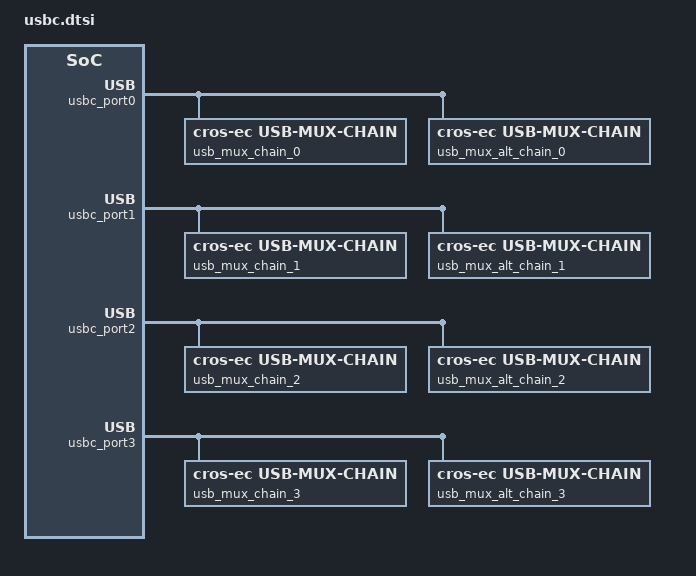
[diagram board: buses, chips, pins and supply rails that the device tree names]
/* Copyright 2024 The ChromiumOS Authors
 * Use of this source code is governed by a BSD-style license that can be
 * found in the LICENSE file.
 */

/ {
	usbc {
		#address-cells = <1>;
		#size-cells = <0>;

		usbc_port0: port0@0 {
			compatible = "named-usbc-port";
			reg = <0>;
			tcpc = <&tcpci_emul0>;
			ppc = <&ppc0_emul>;
			chg = <&charger_emul>;
			usb_mux_chain_0: usb-mux-chain-0 {
				compatible = "cros-ec,usb-mux-chain";
				usb-muxes = <&usb_c0_hb_retimer
					     &virtual_mux_c0>;
			};
			usb_mux_alt_chain_0: usb-mux-atl-chain-0 {
				compatible = "cros-ec,usb-mux-chain";
				alternative-chain;
				usb-muxes = <&virtual_mux_c0>;
			};
		};
		port0-muxes {
			virtual_mux_c0: virtual-mux-c0 {
				compatible = "cros-ec,usbc-mux-virtual";
			};
		};

		usbc_port1: port1@1 {
			compatible = "named-usbc-port";
			reg = <1>;
			tcpc = <&tcpci_emul1>;
			ppc = <&ppc1_emul>;
			usb_mux_chain_1: usb-mux-chain-1 {
				compatible = "cros-ec,usb-mux-chain";
				usb-muxes = <&usb_c1_hb_retimer
					     &virtual_mux_c1>;
			};

			/* TODO:
			 * LP5 doesn't have port 1; should remove PD_C1
			 * task.
			 */
			usb_mux_alt_chain_1: usb-mux-alt-chain-1 {
				compatible = "cros-ec,usb-mux-chain";
				alternative-chain;
				usb-muxes = <&virtual_mux_c1>;
			};
		};
		port1-muxes {
			virtual_mux_c1: virtual-mux-c1 {
				compatible = "cros-ec,usbc-mux-virtual";
			};
		};

		usbc_port2: port2@2 {
			compatible = "named-usbc-port";
			reg = <2>;
			tcpc = <&tcpci_emul2>;
			usb_mux_chain_2: usb-mux-chain-2 {
				compatible = "cros-ec,usb-mux-chain";
				usb-muxes = <&usb_c2_hb_retimer
					     &virtual_mux_c2>;
			};
			usb_mux_alt_chain_2: usb-mux-alt-chain-2 {
				compatible = "cros-ec,usb-mux-chain";
				alternative-chain;
				usb-muxes = <&usb_c2_alt_hb_retimer
					     &virtual_mux_c2>;
			};
		};
		port2-muxes {
			virtual_mux_c2: virtual-mux-c2 {
				compatible = "cros-ec,usbc-mux-virtual";
			};
		};

		usbc_port3: port3@3 {
			compatible = "named-usbc-port";
			reg = <3>;
			tcpc = <&tcpci_emul3>;
			usb_mux_chain_3: usb-mux-chain-3 {
				compatible = "cros-ec,usb-mux-chain";
				usb-muxes = <&usb_c3_hb_retimer
					     &virtual_mux_c3>;
			};
			usb_mux_alt_chain_3: usb-mux-alt-chain-3 {
				compatible = "cros-ec,usb-mux-chain";
				alternative-chain;
				usb-muxes = <&usb_c3_alt_hb_retimer
					     &virtual_mux_c3>;
			};
		};
		port3-muxes {
			virtual_mux_c3: virtual-mux-c3 {
				compatible = "cros-ec,usbc-mux-virtual";
			};
		};
	};
};
